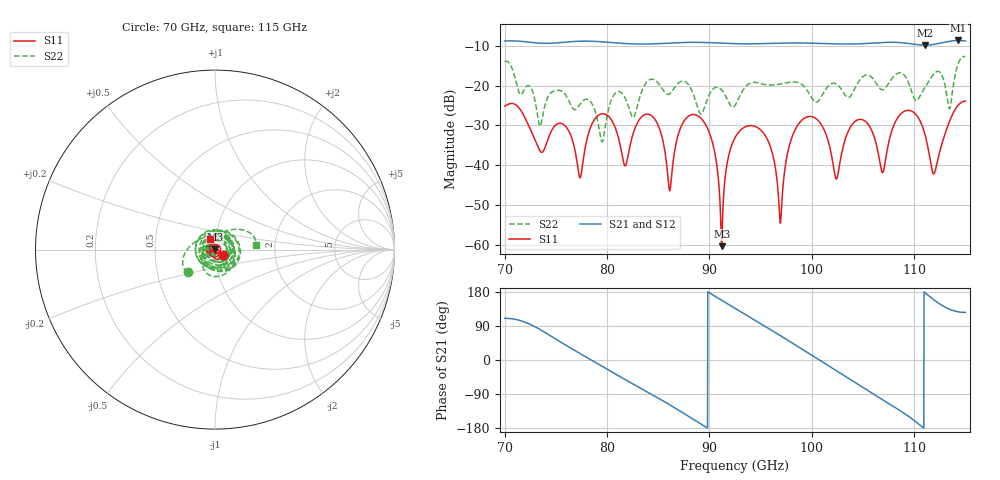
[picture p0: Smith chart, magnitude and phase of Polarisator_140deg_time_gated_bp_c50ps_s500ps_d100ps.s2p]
# Hz S RI R 1.000000
! Metas.Vna.Tools, 2.4.7898.19887
! Metas.Vna.Data, 2.4.7898.19873
! Created: UTC 2021.09.30 14:30:59
! FREQ  re:S1,1  im:S1,1  re:S2,1  im:S2,1  re:S1,2  im:S1,2  re:S2,2  im:S2,2
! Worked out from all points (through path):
!   2251 points, 70 GHz to 115 GHz, reference 1 ohm
!   highest |S21| = -8.67 dB at 114.3 GHz (marker M1); lowest = -9.8 dB at 111.1 GHz (marker M2)
!   lowest |S11| = -60.4 dB at 91.2 GHz (marker M3), VSWR 1.00, Z = 1 + j0.00185 ohm
!   |S11| at or under -10 dB: start of sweep to end of sweep
!   |S22| runs from -34.2 to -12.7 dB; largest |S21 - S12| = 0.039
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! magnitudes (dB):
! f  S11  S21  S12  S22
! 70 GHz  -25.2  -8.8  -8.8  -14.1
! 73.44 GHz  -36.4  -9.4  -9.3  -30.2
! 75.66 GHz  -29.7  -9.2  -9.1  -21.5
! 77.5 GHz  -42.0  -8.9  -8.8  -24.2
! 79.24 GHz  -27.4  -9.0  -8.9  -31.0
! 81.76 GHz  -40.2  -9.4  -9.4  -23.1
! 85 GHz  -30.1  -9.5  -9.4  -19.4
! 86.12 GHz  -46.5  -9.3  -9.3  -22.1
! 89.42 GHz  -29.0  -9.2  -9.1  -26.2
! 91.2 GHz  -60.4  -9.4  -9.3  -21.1
! 92.5 GHz  -33.1  -9.5  -9.4  -25.0
! 95.42 GHz  -32.5  -9.4  -9.4  -19.8
! 96.94 GHz  -54.6  -9.3  -9.3  -19.6
! 98.04 GHz  -33.2  -9.3  -9.2  -19.1
! 100 GHz  -27.8  -9.4  -9.3  -23.2
! 102.4 GHz  -43.5  -9.5  -9.5  -19.6
! 104.4 GHz  -28.8  -9.5  -9.5  -20.0
! 107.5 GHz  -34.5  -9.1  -9.1  -19.4
! 111.1 GHz  -32.6  -9.8  -9.7  -20.4
! 112 GHz  -42.1  -9.6  -9.5  -17.0
! 114.3 GHz  -25.0  -8.7  -8.6  -14.5
! 115 GHz  -23.9  -8.8  -8.7  -12.8
